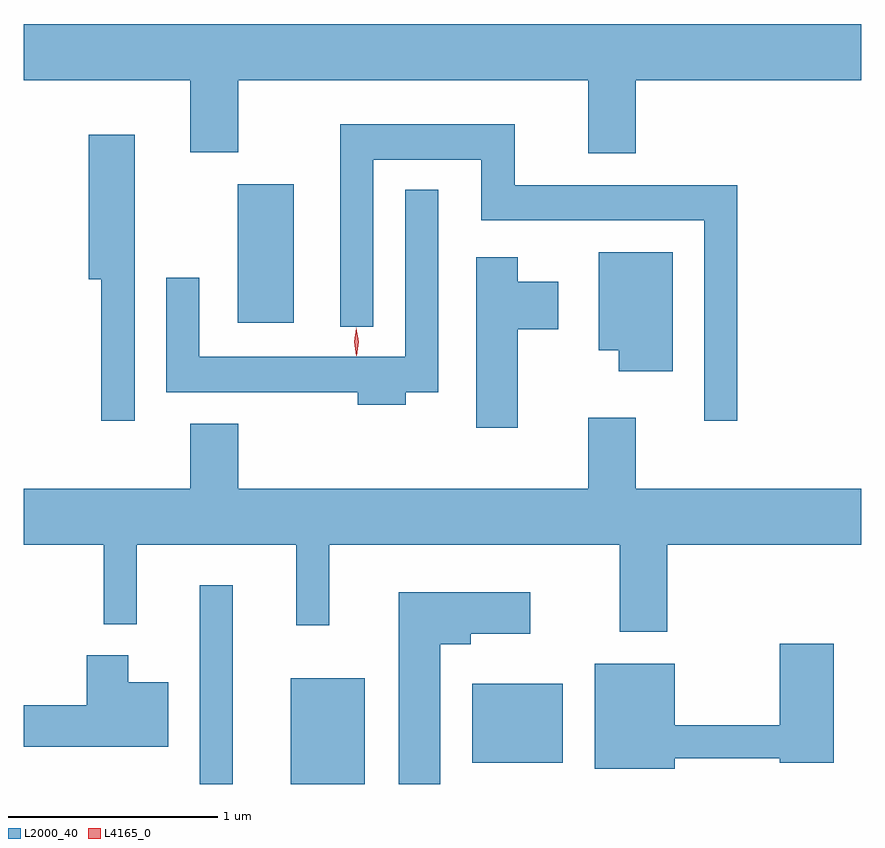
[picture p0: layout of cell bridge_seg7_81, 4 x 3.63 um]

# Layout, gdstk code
import gdstk
lib = gdstk.Library(unit=1e-6, precision=1e-09)
def R(c, l, rs):  # rectangles x0, y0, x1, y1
    for r in rs: c.add(gdstk.rectangle(r[:2], r[2:], *l))
def P(c, l, *ps):  # polygons
    for p in ps: c.add(gdstk.Polygon(p, *l))
L2000_40 = (2000, 40)
L4165_0 = (4165, 0)

bridge_seg7_81 = lib.new_cell('bridge_seg7_81')
R(bridge_seg7_81, L2000_40, [(1564.106,1781.994,1564.264,1782.943), (1564.541,1781.994,1564.894,1782.499), (1565.406,1782.096,1565.839,1782.474), (1564.286,1784.196,1564.554,1784.859)])
P(bridge_seg7_81, L2000_40, [(1566.189,1785.356),(1567.265,1785.356),(1567.265,1785.624),(1563.265,1785.624),(1563.265,1785.356),(1564.061,1785.356),(1564.061,1785.011),(1564.289,1785.011),(1564.289,1785.356),(1565.961,1785.356),(1565.961,1785.006),(1566.189,1785.006)],
  [(1566.674,1784.854),(1565.609,1784.854),(1565.609,1785.144),(1564.776,1785.144),(1564.776,1784.178),(1564.934,1784.178),(1564.934,1784.976),(1565.451,1784.976),(1565.451,1784.686),(1566.516,1784.686),(1566.516,1783.728),(1566.674,1783.728)],
  [(1563.794,1785.094),(1563.576,1785.094),(1563.576,1784.406),(1563.636,1784.406),(1563.636,1783.728),(1563.794,1783.728)],
  [(1565.089,1783.866),(1565.244,1783.866),(1565.244,1784.833),(1565.086,1784.833),(1565.086,1784.034),(1564.104,1784.034),(1564.104,1784.413),(1563.946,1784.413),(1563.946,1783.866),(1564.861,1783.866),(1564.861,1783.806),(1565.089,1783.806)],
  [(1566.364,1784.534),(1566.011,1784.534),(1566.011,1784.066),(1566.106,1784.066),(1566.106,1783.966),(1566.364,1783.966)],
  [(1565.624,1784.166),(1565.819,1784.166),(1565.819,1784.394),(1565.624,1784.394),(1565.624,1784.509),(1565.426,1784.509),(1565.426,1783.696),(1565.624,1783.696)],
  [(1566.339,1783.136),(1567.265,1783.136),(1567.265,1783.404),(1566.189,1783.404),(1566.189,1783.744),(1565.961,1783.744),(1565.961,1783.404),(1564.289,1783.404),(1564.289,1783.714),(1564.061,1783.714),(1564.061,1783.404),(1563.265,1783.404),(1563.265,1783.136),(1563.646,1783.136),(1563.646,1782.758),(1563.804,1782.758),(1563.804,1783.136),(1564.566,1783.136),(1564.566,1782.753),(1564.724,1782.753),(1564.724,1783.136),(1566.111,1783.136),(1566.111,1782.721),(1566.339,1782.721)],
  [(1565.254,1782.661),(1565.399,1782.661),(1565.399,1782.711),(1565.684,1782.711),(1565.684,1782.909),(1565.056,1782.909),(1565.056,1781.994),(1565.254,1781.994)],
  [(1566.374,1782.116),(1566.876,1782.116),(1566.876,1782.096),(1567.134,1782.096),(1567.134,1782.664),(1566.876,1782.664),(1566.876,1782.274),(1566.374,1782.274),(1566.374,1782.569),(1565.991,1782.569),(1565.991,1782.066),(1566.374,1782.066)],
  [(1563.954,1782.479),(1563.764,1782.479),(1563.764,1782.609),(1563.566,1782.609),(1563.566,1782.369),(1563.265,1782.369),(1563.265,1782.171),(1563.954,1782.171)])
P(bridge_seg7_81, L4165_0, [(1564.854,1784.04),(1564.854,1784.04),(1564.844,1784.106),(1564.853,1784.172),(1564.854,1784.173),(1564.854,1784.172),(1564.864,1784.106),(1564.855,1784.04)])

lib.write_gds('bridge_seg7_81.gds')
